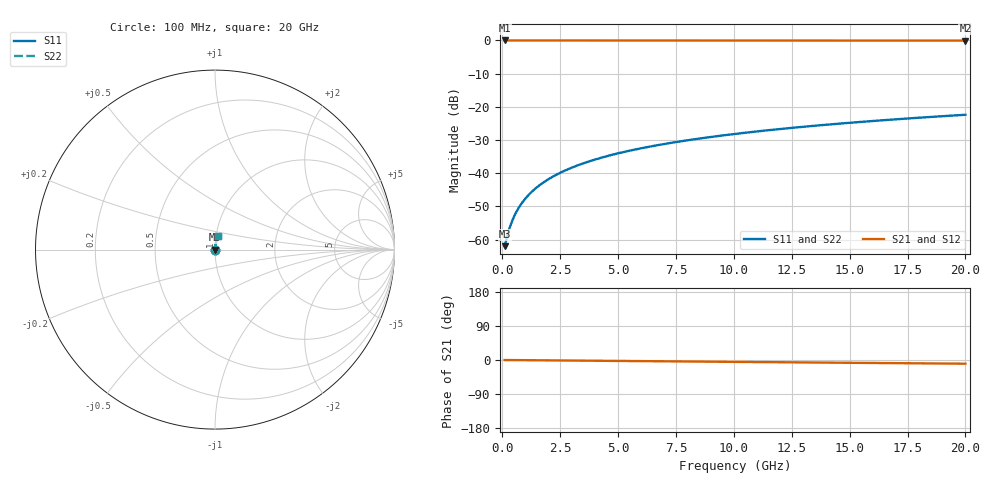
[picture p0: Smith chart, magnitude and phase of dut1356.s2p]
! Touchstone file exported from HFSS 2026.1.0
!  File:  C:/ffzhzh/LocalFiles/Ansys_Project_Files/temp_train_TSV_1356_1783195917_55132.aedt
!  Generated:  04:14:23 AM Jul  5, 2026
!  Design:  TSV
!  Project:  temp_train_TSV_1356_1783195917_55132
! Variables:
!  h_bsmrdl = 2um
!  h_ox = 20um
!  h_rdl = 5um
!  h_sub = 89.75um
!  h_tmrdl = 5um
!  h_tsv = 89.75um
!  h_via = 3um
!  l_bsmrdl = 300um
!  l_sub = 407.96um
!  l_tmrdl = 200um
!  m_sub = 200um
!  pitch = 33.82um
!  r_tsv = 3.98um
!  s_tmrdl = 10um
!  w_bsmrdl = 18um
!  w_sub = 500um
!  w_tmrdl = 12um
!  x_tsv_center1 = 206um
!  x_tsv_center2 = 524um
!  x_tsv_center3 = 736um
!  x_tsv_center4 = 1054um
!  x_tsv_center5 = 1266um
!  x_tsv_center6 = 1584um
# GHz S MA R 50.000000
! Terminal data exported
! Port[1] = TSV1_1_T1
! Port[2] = TSV1_1_T2
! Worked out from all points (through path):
!   200 points, 100 MHz to 20 GHz, reference 50 ohm
!   highest |S21| = -0.01 dB at 100 MHz (marker M1); lowest = -0.1 dB at 20 GHz (marker M2)
!   group delay of S21, straight-line fit = 1.35 ps
!   lowest |S11| = -62.0 dB at 100 MHz (marker M3), VSWR 1.00, Z = 50.1 + j0.0425 ohm
!   |S11| at or under -10 dB: start of sweep to end of sweep
!   |S22| runs from -62.0 to -22.4 dB; largest |S21 - S12| = 1.2e-15
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0.1  0.0007973 32.1  0.9993 -0.1  0.9993 -0.1  0.0007973 32.1
! Gamma 0 0 0 0
! Port Impedance 50 0 50 0
0.2  0.001088 50.8  0.9993 -0.1  0.9993 -0.1  0.001088 50.8
0.3  0.00144 60.8  0.9993 -0.2  0.9993 -0.2  0.00144 60.8
0.4  0.001814 66.6  0.9993 -0.2  0.9993 -0.2  0.001814 66.6
0.5  0.002198 70.5  0.9993 -0.3  0.9993 -0.3  0.002198 70.5
0.6  0.002587 73.2  0.9993 -0.3  0.9993 -0.3  0.002587 73.2
0.8  0.003374 76.6  0.9992 -0.4  0.9992 -0.4  0.003374 76.6
1.1  0.004568 79.5  0.9992 -0.6  0.9992 -0.6  0.004568 79.5
1.5  0.006168 81.5  0.9991 -0.8  0.9991 -0.8  0.006168 81.5
1.8  0.007368 82.4  0.9991 -0.9  0.9991 -0.9  0.007368 82.4
2.1  0.008567 82.9  0.9991 -1.1  0.9991 -1.1  0.008567 82.9
2.7  0.01096 83.4  0.9989 -1.4  0.9989 -1.4  0.01096 83.4
3.5  0.01411 83.7  0.9988 -1.8  0.9988 -1.8  0.01411 83.7
4.2  0.01685 83.6  0.9986 -2.1  0.9986 -2.1  0.01685 83.6
5  0.01994 83.5  0.9984 -2.5  0.9984 -2.5  0.01994 83.5
5.9  0.0234 83.3  0.9982 -2.9  0.9982 -2.9  0.0234 83.3
6.8  0.02683 83.0  0.998 -3.4  0.998 -3.4  0.02683 83.0
8.3  0.0325 82.6  0.9976 -4.1  0.9976 -4.1  0.0325 82.6
10.1  0.03927 82.0  0.9971 -5.0  0.9971 -5.0  0.03927 82.0
13.4  0.05159 80.8  0.9963 -6.6  0.9963 -6.6  0.05159 80.8
16.7  0.06382 79.4  0.9953 -8.2  0.9953 -8.2  0.06382 79.4
20  0.07594 78.0  0.9942 -9.8  0.9942 -9.8  0.07594 78.0
